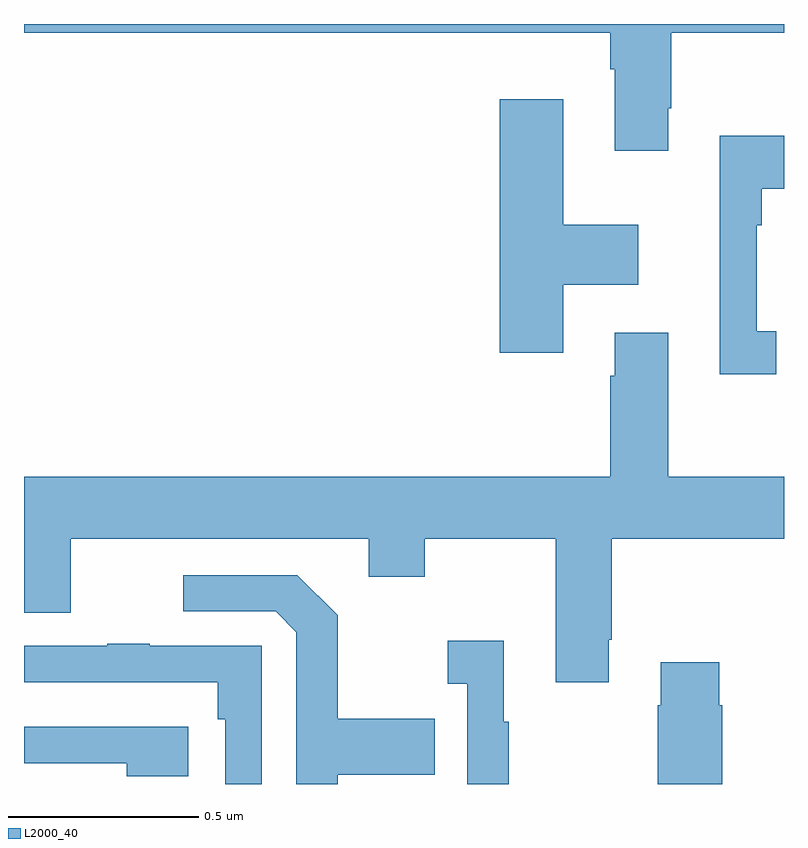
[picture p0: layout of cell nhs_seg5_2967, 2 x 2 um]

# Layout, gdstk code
import gdstk
lib = gdstk.Library(unit=1e-6, precision=1e-09)
def P(c, l, *ps):  # polygons
    for p in ps: c.add(gdstk.Polygon(p, *l))
L2000_40 = (2000, 40)

nhs_seg5_2967 = lib.new_cell('nhs_seg5_2967')
P(nhs_seg5_2967, L2000_40, [(152.695,840.577),(152.703,840.577),(152.703,840.776),(153,840.776),(153,840.799),(151,840.799),(151,840.776),(152.543,840.776),(152.543,840.68),(152.555,840.68),(152.555,840.465),(152.695,840.465)],
  [(152.419,840.113),(152.617,840.113),(152.617,840.271),(152.419,840.271),(152.419,840.601),(152.252,840.601),(152.252,839.934),(152.419,839.934)],
  [(152.98,839.99),(152.928,839.99),(152.928,840.269),(152.941,840.269),(152.941,840.365),(153,840.365),(153,840.505),(152.831,840.505),(152.831,839.877),(152.98,839.877)],
  [(152.539,839.179),(152.547,839.179),(152.547,839.444),(153,839.444),(153,839.608),(152.695,839.608),(152.695,839.986),(152.555,839.986),(152.555,839.873),(152.543,839.873),(152.543,839.608),(151,839.608),(151,839.25),(151.123,839.25),(151.123,839.444),(151.907,839.444),(151.907,839.345),(152.055,839.345),(152.055,839.444),(152.399,839.444),(152.399,839.067),(152.539,839.067)],
  [(151.825,838.823),(152.081,838.823),(152.081,838.971),(151.825,838.971),(151.825,839.243),(151.719,839.349),(151.419,839.349),(151.419,839.253),(151.662,839.253),(151.716,839.199),(151.716,838.799),(151.825,838.799)],
  [(152.275,838.963),(152.263,838.963),(152.263,839.176),(152.115,839.176),(152.115,839.063),(152.166,839.063),(152.166,838.799),(152.275,838.799)],
  [(151.626,839.163),(151.331,839.163),(151.331,839.168),(151.219,839.168),(151.219,839.163),(151,839.163),(151,839.067),(151.51,839.067),(151.51,838.97),(151.53,838.97),(151.53,838.799),(151.626,838.799)],
  [(152.838,839.006),(152.83,839.006),(152.83,839.119),(152.675,839.119),(152.675,839.006),(152.668,839.006),(152.668,838.799),(152.838,838.799)],
  [(151.432,838.95),(151,838.95),(151,838.854),(151.271,838.854),(151.271,838.82),(151.432,838.82)])

lib.write_gds('nhs_seg5_2967.gds')
